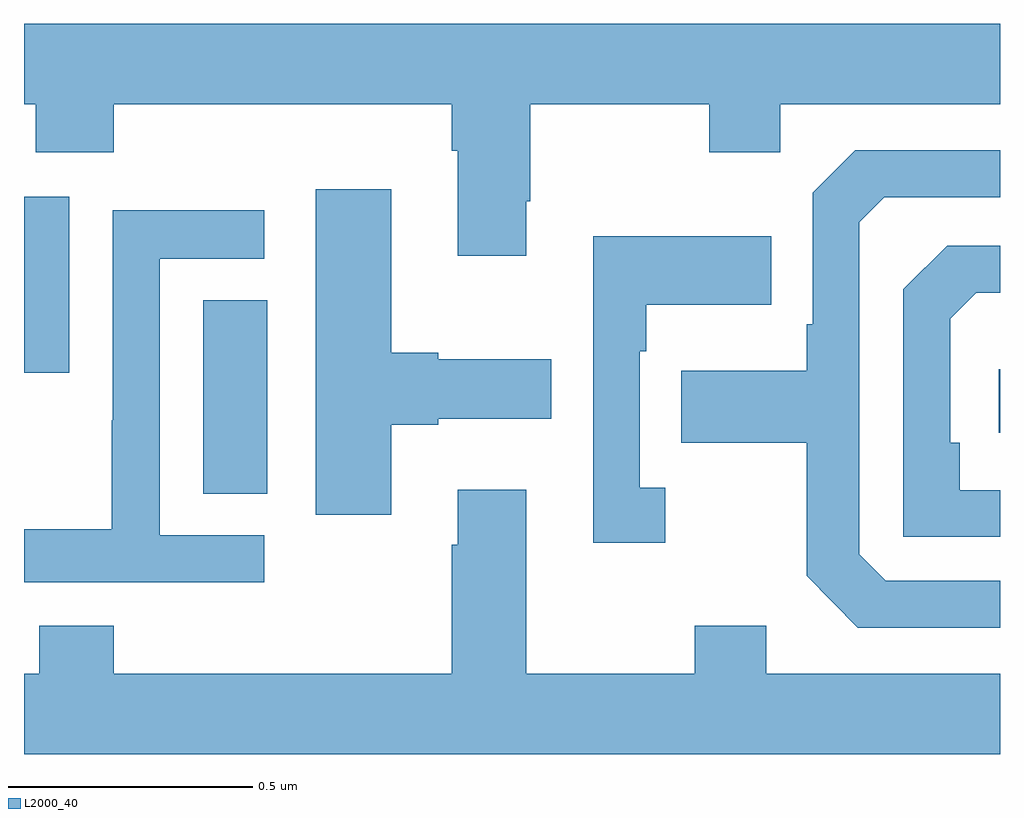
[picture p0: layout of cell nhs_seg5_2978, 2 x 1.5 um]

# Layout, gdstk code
import gdstk
lib = gdstk.Library(unit=1e-6, precision=1e-09)
def R(c, l, rs):  # rectangles x0, y0, x1, y1
    for r in rs: c.add(gdstk.rectangle(r[:2], r[2:], *l))
def P(c, l, *ps):  # polygons
    for p in ps: c.add(gdstk.Polygon(p, *l))
L2000_40 = (2000, 40)

nhs_seg5_2978 = lib.new_cell('nhs_seg5_2978')
R(nhs_seg5_2978, L2000_40, [(151.367,850.633,151.498,851.03), (152.997,850.758,153,850.888), (151,850.881,151.093,851.242)])
P(nhs_seg5_2978, L2000_40, [(152.029,851.233),(152.037,851.233),(152.037,851.432),(152.404,851.432),(152.404,851.333),(152.55,851.333),(152.55,851.432),(153,851.432),(153,851.596),(151,851.596),(151,851.432),(151.024,851.432),(151.024,851.333),(151.184,851.333),(151.184,851.432),(151.877,851.432),(151.877,851.336),(151.889,851.336),(151.889,851.121),(152.029,851.121)],
  [(153,850.455),(152.766,850.455),(152.712,850.509),(152.712,851.19),(152.763,851.241),(153,851.241),(153,851.337),(152.703,851.337),(152.616,851.25),(152.616,850.981),(152.604,850.981),(152.604,850.885),(152.347,850.885),(152.347,850.738),(152.604,850.738),(152.604,850.465),(152.709,850.359),(153,850.359)],
  [(151.753,850.775),(151.849,850.775),(151.849,850.787),(152.08,850.787),(152.08,850.909),(151.849,850.909),(151.849,850.922),(151.753,850.922),(151.753,851.257),(151.598,851.257),(151.598,850.59),(151.753,850.59)],
  [(151.492,850.548),(151.278,850.548),(151.278,851.115),(151.492,851.115),(151.492,851.214),(151.182,851.214),(151.182,850.784),(151.18,850.784),(151.18,850.561),(151,850.561),(151,850.452),(151.492,850.452)],
  [(152.314,850.646),(152.262,850.646),(152.262,850.925),(152.275,850.925),(152.275,851.021),(152.531,851.021),(152.531,851.161),(152.166,851.161),(152.166,850.533),(152.314,850.533)],
  [(153,850.641),(152.918,850.641),(152.918,850.738),(152.898,850.738),(152.898,850.992),(152.951,851.045),(153,851.045),(153,851.142),(152.892,851.142),(152.802,851.052),(152.802,850.545),(153,850.545)],
  [(153,850.264),(152.521,850.264),(152.521,850.363),(152.374,850.363),(152.374,850.264),(152.029,850.264),(152.029,850.642),(151.889,850.642),(151.889,850.529),(151.877,850.529),(151.877,850.264),(151.184,850.264),(151.184,850.363),(151.031,850.363),(151.031,850.264),(151,850.264),(151,850.1),(153,850.1)])

lib.write_gds('nhs_seg5_2978.gds')
